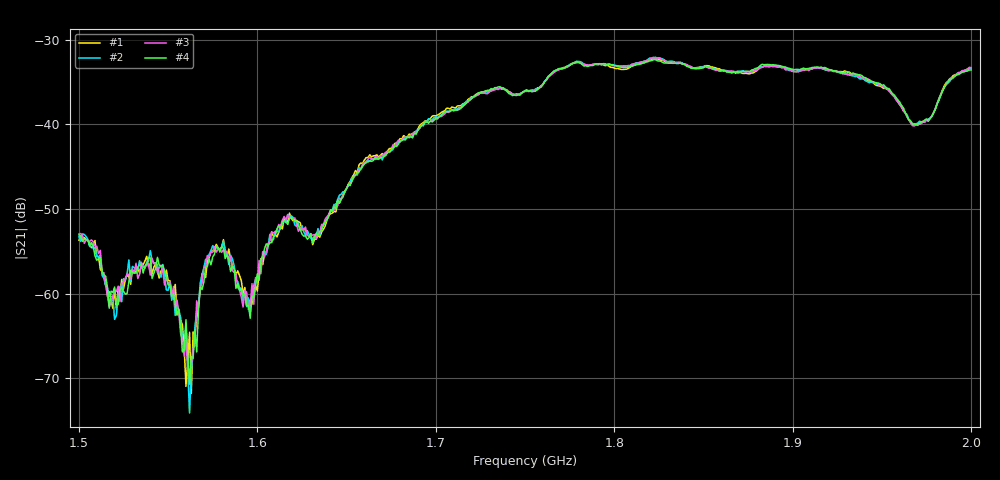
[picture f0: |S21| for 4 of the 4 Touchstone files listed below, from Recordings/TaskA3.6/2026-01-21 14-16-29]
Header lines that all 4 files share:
! NanoVNA-App by SYSJOINT et al v1.1.209 (+OD18)
! Start: 1,5GHz Stop: 2GHz Points: 501
! S-Parameter data: F S11 S21 S12 S22
# Hz S RI R 50
!  Frequency  S11_Real  S11_Imag  S21_Real  S21_Imag  S12_Real  S12_Imag  S22_Real  S22_Imag
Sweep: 1.5 GHz to 2 GHz
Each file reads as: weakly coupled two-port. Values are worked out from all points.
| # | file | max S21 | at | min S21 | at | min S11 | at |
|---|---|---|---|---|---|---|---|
| 1 | 0.s2p | -32.22 dB | 1.822 GHz | -71.8 dB | 1.563 GHz | -31.3 dB | 1.816 GHz |
| 2 | 1.s2p | -32.07 dB | 1.823 GHz | -74.1 dB | 1.562 GHz | -31.6 dB | 1.816 GHz |
| 3 | 2.s2p | -32.07 dB | 1.822 GHz | -69.4 dB | 1.562 GHz | -31.3 dB | 1.816 GHz |
| 4 | 3.s2p | -32.34 dB | 1.823 GHz | -70.7 dB | 1.562 GHz | -31.6 dB | 1.816 GHz |
